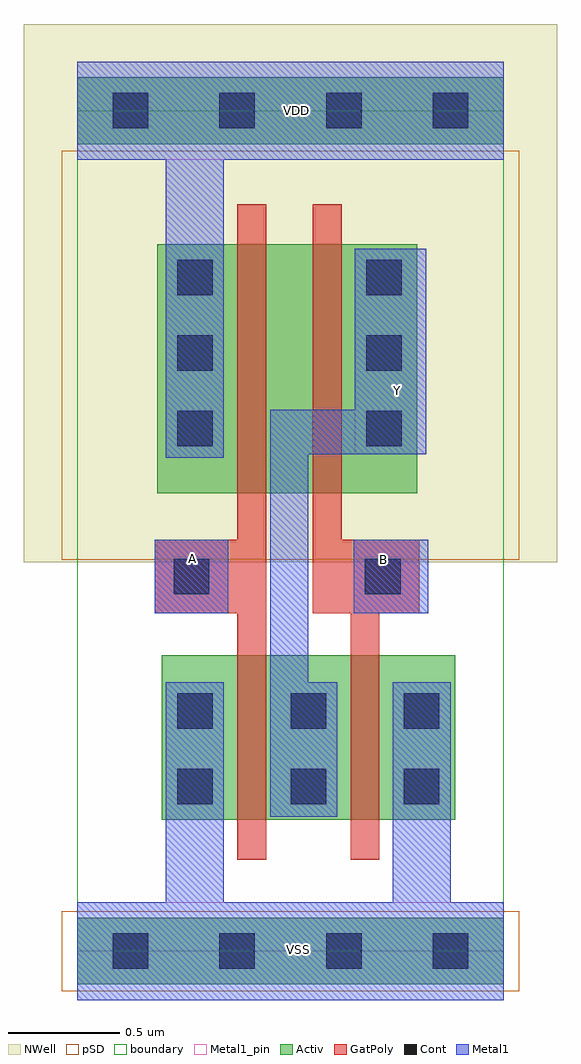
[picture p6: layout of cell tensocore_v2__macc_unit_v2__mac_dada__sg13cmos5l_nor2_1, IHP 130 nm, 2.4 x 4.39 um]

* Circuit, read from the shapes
.subckt tensocore_v2__macc_unit_v2__mac_dada__sg13cmos5l_nor2_1 A B VDD VSS Y
XM1 Y A VSS VSS sg13_lv_nmos w=0.74u l=0.13u
XM2 VSS B Y VSS sg13_lv_nmos w=0.74u l=0.13u
XM3 n1 A VDD VDD sg13_lv_pmos w=1.12u l=0.13u
XM4 Y B n1 VDD sg13_lv_pmos w=1.12u l=0.13u
.ends

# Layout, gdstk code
import gdstk
lib = gdstk.Library(unit=1e-6, precision=1e-09)
def R(c, l, rs):  # rectangles x0, y0, x1, y1
    for r in rs: c.add(gdstk.rectangle(r[:2], r[2:], *l))
def A(c, l, x, y, w, h, nx, ny, dx, dy):  # array of equal rectangles
    R(c, l, [(x+i*dx, y+j*dy, x+i*dx+w, y+j*dy+h) for i in range(nx) for j in range(ny)])
def P(c, l, *ps):  # polygons
    for p in ps: c.add(gdstk.Polygon(p, *l))
Activ = (1, 0)
GatPoly = (5, 0)
Cont = (6, 0)
Metal1 = (8, 0)
Metal1_pin = (8, 2)
pSD = (14, 0)
NWell = (31, 0)
boundary = (189, 4)

tensocore_v2__macc_unit_ = lib.new_cell('tensocore_v2__macc_unit_v2__mac_dada__sg13cmos5l_nor2_1')
R(tensocore_v2__macc_unit_, Activ, [(0,-0.15,1.92,0.15), (0.38,0.59,1.7,1.33), (0.36,2.06,1.53,3.18), (0,3.63,1.92,3.93)])
P(tensocore_v2__macc_unit_, GatPoly, [(0.72,0.41),(0.72,1.52),(0.35,1.52),(0.35,1.85),(0.72,1.85),(0.72,3.36),(0.85,3.36),(0.85,0.41)],
  [(1.23,0.41),(1.23,1.52),(1.06,1.52),(1.06,3.36),(1.19,3.36),(1.19,1.85),(1.54,1.85),(1.54,1.52),(1.36,1.52),(1.36,0.41)])
A(tensocore_v2__macc_unit_, Cont, 0.45, 0.66, 0.16, 0.16, 3, 2, 0.51, 0.34)
A(tensocore_v2__macc_unit_, Cont, 0.45, 2.27, 0.16, 0.16, 1, 3, 0, 0.34)
A(tensocore_v2__macc_unit_, Cont, 1.3, 2.27, 0.16, 0.16, 1, 3, 0, 0.34)
R(tensocore_v2__macc_unit_, Cont, [(0.16,-0.08,0.32,0.08), (0.16,-0.08,0.32,0.08), (0.64,-0.08,0.8,0.08), (0.64,-0.08,0.8,0.08), (1.12,-0.08,1.28,0.08), (1.12,-0.08,1.28,0.08), (1.6,-0.08,1.76,0.08), (1.6,-0.08,1.76,0.08), (0.435,1.605,0.595,1.765), (1.295,1.605,1.455,1.765), (0.16,3.7,0.32,3.86), (0.16,3.7,0.32,3.86), (0.64,3.7,0.8,3.86), (0.64,3.7,0.8,3.86), (1.12,3.7,1.28,3.86), (1.12,3.7,1.28,3.86), (1.6,3.7,1.76,3.86), (1.6,3.7,1.76,3.86)])
R(tensocore_v2__macc_unit_, Metal1, [(0.35,1.52,0.68,1.85), (1.245,1.52,1.58,1.85)])
P(tensocore_v2__macc_unit_, Metal1, [(0,-0.22),(0,0.22),(0.4,0.22),(0.4,1.21),(0.66,1.21),(0.66,0.22),(1.42,0.22),(1.42,1.21),(1.68,1.21),(1.68,0.22),(1.92,0.22),(1.92,-0.22)],
  [(0.4,2.22),(0.4,3.56),(0,3.56),(0,4),(1.92,4),(1.92,3.56),(0.66,3.56),(0.66,2.22)],
  [(0.87,0.605),(0.87,2.435),(1.25,2.435),(1.25,3.16),(1.57,3.16),(1.57,2.235),(1.04,2.235),(1.04,1.21),(1.17,1.21),(1.17,0.605)])
R(tensocore_v2__macc_unit_, Metal1_pin, [(0,-0.22,1.92,0.22), (0.35,1.52,0.68,1.85), (1.245,1.52,1.58,1.85), (1.25,2.235,1.57,3.16), (0,3.56,1.92,4)])
R(tensocore_v2__macc_unit_, pSD, [(-0.07,-0.18,1.99,0.18), (-0.07,1.76,1.99,3.6)])
R(tensocore_v2__macc_unit_, NWell, [(-0.24,1.75,2.16,4.17)])
R(tensocore_v2__macc_unit_, boundary, [(0,0,1.92,3.78)])
tensocore_v2__macc_unit_.add(gdstk.Label('B', (1.38,1.76), layer=8, texttype=25))
tensocore_v2__macc_unit_.add(gdstk.Label('VSS', (0.995,0.005), layer=8, texttype=25))
tensocore_v2__macc_unit_.add(gdstk.Label('Y', (1.44,2.52), layer=8, texttype=25))
tensocore_v2__macc_unit_.add(gdstk.Label('VDD', (0.985,3.78), layer=8, texttype=25))
tensocore_v2__macc_unit_.add(gdstk.Label('A', (0.52,1.765), layer=8, texttype=25))

lib.write_gds('tensocore_v2__macc_unit_v2__mac_dada__sg13cmos5l_nor2_1.gds')
